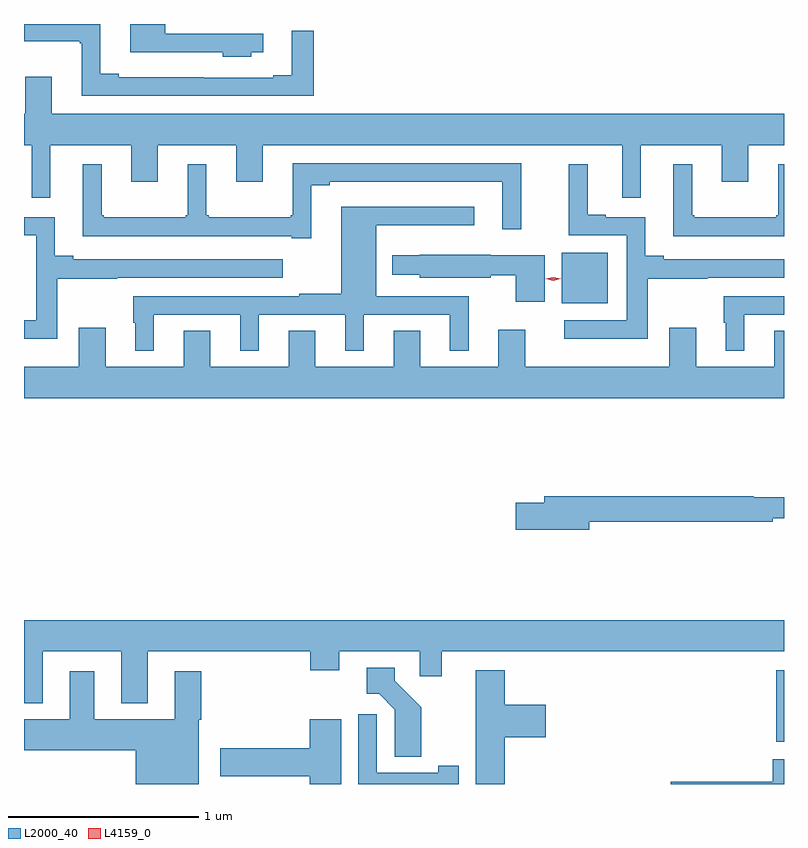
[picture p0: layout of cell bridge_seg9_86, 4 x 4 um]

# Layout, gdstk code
import gdstk
lib = gdstk.Library(unit=1e-6, precision=1e-09)
def R(c, l, rs):  # rectangles x0, y0, x1, y1
    for r in rs: c.add(gdstk.rectangle(r[:2], r[2:], *l))
def P(c, l, *ps):  # polygons
    for p in ps: c.add(gdstk.Polygon(p, *l))
L2000_40 = (2000, 40)
L4159_0 = (4159, 0)

bridge_seg9_86 = lib.new_cell('bridge_seg9_86')
R(bridge_seg9_86, L2000_40, [(836.259,1230.576,836.3,1230.952), (835.13,1232.882,835.372,1233.148)])
P(bridge_seg9_86, L2000_40, [(833.496,1234.205),(833.56,1234.205),(833.56,1234.303),(833.044,1234.303),(833.044,1234.353),(832.859,1234.353),(832.859,1234.205),(833.346,1234.205),(833.346,1234.181),(833.496,1234.181)],
  [(833.825,1234.318),(833.708,1234.318),(833.708,1234.084),(833.612,1234.084),(833.612,1234.071),(833.246,1234.071),(833.246,1234.072),(832.798,1234.072),(832.798,1234.091),(832.702,1234.091),(832.702,1234.353),(832.3,1234.353),(832.3,1234.262),(832.593,1234.262),(832.593,1234.251),(832.604,1234.251),(832.604,1233.975),(833.825,1233.975)],
  [(832.438,1233.716),(832.865,1233.716),(832.865,1233.522),(833.005,1233.522),(833.005,1233.716),(833.417,1233.716),(833.417,1233.522),(833.557,1233.522),(833.557,1233.716),(835.448,1233.716),(835.448,1233.438),(835.546,1233.438),(835.546,1233.716),(835.973,1233.716),(835.973,1233.522),(836.113,1233.522),(836.113,1233.716),(836.3,1233.716),(836.3,1233.88),(832.447,1233.88),(832.447,1234.075),(832.307,1234.075),(832.307,1233.88),(832.3,1233.88),(832.3,1233.716),(832.34,1233.716),(832.34,1233.438),(832.438,1233.438)],
  [(833.812,1233.505),(833.908,1233.505),(833.908,1233.524),(834.818,1233.524),(834.818,1233.273),(834.918,1233.273),(834.918,1233.621),(833.714,1233.621),(833.714,1233.346),(833.703,1233.346),(833.703,1233.335),(833.272,1233.335),(833.272,1233.346),(833.26,1233.346),(833.26,1233.616),(833.162,1233.616),(833.162,1233.346),(833.151,1233.346),(833.151,1233.335),(832.72,1233.335),(832.72,1233.346),(832.708,1233.346),(832.708,1233.616),(832.61,1233.616),(832.61,1233.237),(833.708,1233.237),(833.708,1233.225),(833.812,1233.225)],
  [(836.3,1233.616),(836.27,1233.616),(836.27,1233.346),(836.259,1233.346),(836.259,1233.335),(835.828,1233.335),(835.828,1233.346),(835.816,1233.346),(835.816,1233.616),(835.718,1233.616),(835.718,1233.237),(836.3,1233.237)],
  [(835.582,1233.013),(835.898,1233.013),(835.898,1233.018),(836.3,1233.018),(836.3,1233.114),(835.666,1233.114),(835.666,1233.134),(835.57,1233.134),(835.57,1233.336),(835.363,1233.336),(835.363,1233.349),(835.267,1233.349),(835.267,1233.616),(835.166,1233.616),(835.166,1233.24),(835.473,1233.24),(835.473,1232.793),(835.143,1232.793),(835.143,1232.696),(835.582,1232.696)],
  [(832.984,1232.823),(833.438,1232.823),(833.438,1232.633),(833.536,1232.633),(833.536,1232.823),(833.99,1232.823),(833.99,1232.633),(834.088,1232.633),(834.088,1232.823),(834.542,1232.823),(834.542,1232.633),(834.64,1232.633),(834.64,1232.78),(834.642,1232.78),(834.642,1232.919),(834.154,1232.919),(834.154,1233.293),(834.67,1233.293),(834.67,1233.391),(833.969,1233.391),(833.969,1232.932),(833.749,1232.932),(833.749,1232.919),(832.875,1232.919),(832.875,1232.78),(832.886,1232.78),(832.886,1232.633),(832.984,1232.633)],
  [(832.474,1233.013),(832.79,1233.013),(832.79,1233.018),(833.662,1233.018),(833.662,1233.114),(832.558,1233.114),(832.558,1233.134),(832.462,1233.134),(832.462,1233.336),(832.3,1233.336),(832.3,1233.24),(832.365,1233.24),(832.365,1232.793),(832.3,1232.793),(832.3,1232.696),(832.474,1232.696)],
  [(835.042,1233.136),(834.756,1233.136),(834.756,1233.139),(834.384,1233.139),(834.384,1233.136),(834.239,1233.136),(834.239,1233.032),(834.384,1233.032),(834.384,1233.017),(834.756,1233.017),(834.756,1233.03),(834.887,1233.03),(834.887,1232.892),(835.042,1232.892)],
  [(836.092,1232.823),(836.3,1232.823),(836.3,1232.919),(835.983,1232.919),(835.983,1232.78),(835.994,1232.78),(835.994,1232.633),(836.092,1232.633)],
  [(836.3,1232.738),(836.249,1232.738),(836.249,1232.548),(835.837,1232.548),(835.837,1232.755),(835.697,1232.755),(835.697,1232.548),(834.937,1232.548),(834.937,1232.743),(834.797,1232.743),(834.797,1232.548),(834.385,1232.548),(834.385,1232.738),(834.245,1232.738),(834.245,1232.548),(833.833,1232.548),(833.833,1232.738),(833.693,1232.738),(833.693,1232.548),(833.281,1232.548),(833.281,1232.738),(833.141,1232.738),(833.141,1232.548),(832.729,1232.548),(832.729,1232.755),(832.589,1232.755),(832.589,1232.548),(832.3,1232.548),(832.3,1232.384),(836.3,1232.384)],
  [(835.276,1231.732),(836.24,1231.732),(836.24,1231.751),(836.3,1231.751),(836.3,1231.861),(836.141,1231.861),(836.141,1231.868),(835.037,1231.868),(835.037,1231.832),(834.888,1231.832),(834.888,1231.69),(835.276,1231.69)],
  [(832.399,1231.052),(832.811,1231.052),(832.811,1230.779),(832.951,1230.779),(832.951,1231.052),(833.807,1231.052),(833.807,1230.953),(833.959,1230.953),(833.959,1231.052),(834.384,1231.052),(834.384,1230.921),(834.499,1230.921),(834.499,1231.052),(836.3,1231.052),(836.3,1231.216),(832.3,1231.216),(832.3,1230.779),(832.399,1230.779)],
  [(834.391,1230.758),(834.252,1230.897),(834.252,1230.964),(834.105,1230.964),(834.105,1230.827),(834.169,1230.827),(834.252,1230.744),(834.252,1230.497),(834.391,1230.497)],
  [(834.83,1230.599),(835.045,1230.599),(835.045,1230.769),(834.83,1230.769),(834.83,1230.952),(834.677,1230.952),(834.677,1230.353),(834.83,1230.353)],
  [(833.221,1230.69),(833.234,1230.69),(833.234,1230.946),(833.093,1230.946),(833.093,1230.694),(832.669,1230.694),(832.669,1230.946),(832.541,1230.946),(832.541,1230.694),(832.3,1230.694),(832.3,1230.53),(832.889,1230.53),(832.889,1230.353),(833.221,1230.353)],
  [(834.588,1230.448),(834.48,1230.448),(834.48,1230.412),(834.156,1230.412),(834.156,1230.72),(834.06,1230.72),(834.06,1230.353),(834.588,1230.353)],
  [(833.971,1230.694),(833.804,1230.694),(833.804,1230.542),(833.334,1230.542),(833.334,1230.395),(833.804,1230.395),(833.804,1230.353),(833.971,1230.353)],
  [(836.3,1230.484),(836.24,1230.484),(836.24,1230.365),(835.703,1230.365),(835.703,1230.353),(836.3,1230.353)])
P(bridge_seg9_86, L4159_0, [(835.086,1233.001),(835.046,1233.011),(835.046,1233.011),(835.046,1233.011),(835.085,1233.021),(835.125,1233.012),(835.126,1233.012),(835.125,1233.012)])

lib.write_gds('bridge_seg9_86.gds')
